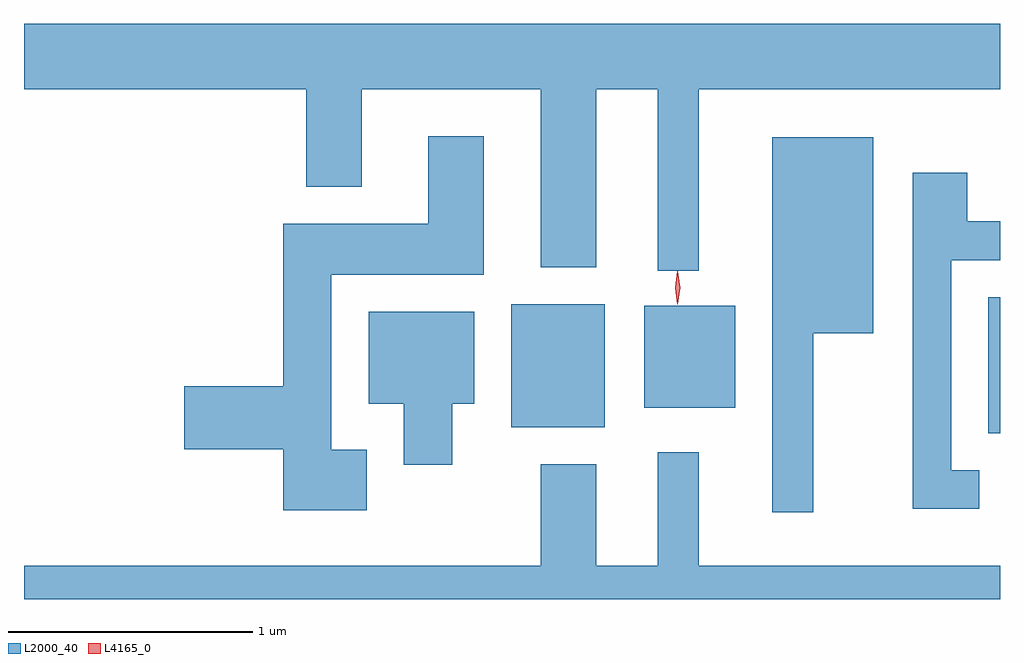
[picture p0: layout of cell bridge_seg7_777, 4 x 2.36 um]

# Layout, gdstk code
import gdstk
lib = gdstk.Library(unit=1e-6, precision=1e-09)
def R(c, l, rs):  # rectangles x0, y0, x1, y1
    for r in rs: c.add(gdstk.rectangle(r[:2], r[2:], *l))
def P(c, l, *ps):  # polygons
    for p in ps: c.add(gdstk.Polygon(p, *l))
L2000_40 = (2000, 40)
L4165_0 = (4165, 0)

bridge_seg7_777 = lib.new_cell('bridge_seg7_777')
R(bridge_seg7_777, L2000_40, [(385.056,1788.386,385.104,1788.944), (383.101,1788.411,383.484,1788.914), (383.646,1788.491,384.019,1788.909)])
P(bridge_seg7_777, L2000_40, [(383.869,1789.796),(385.104,1789.796),(385.104,1790.064),(381.104,1790.064),(381.104,1789.796),(382.261,1789.796),(382.261,1789.396),(382.489,1789.396),(382.489,1789.796),(383.221,1789.796),(383.221,1789.066),(383.449,1789.066),(383.449,1789.796),(383.701,1789.796),(383.701,1789.053),(383.869,1789.053)],
  [(382.509,1788.319),(382.364,1788.319),(382.364,1789.036),(382.989,1789.036),(382.989,1789.604),(382.761,1789.604),(382.761,1789.244),(382.166,1789.244),(382.166,1788.579),(381.761,1788.579),(381.761,1788.321),(382.166,1788.321),(382.166,1788.071),(382.509,1788.071)],
  [(384.339,1788.796),(384.584,1788.796),(384.584,1789.599),(384.171,1789.599),(384.171,1788.063),(384.339,1788.063)],
  [(385.018,1788.234),(384.904,1788.234),(384.904,1789.096),(385.104,1789.096),(385.104,1789.254),(384.969,1789.254),(384.969,1789.454),(384.746,1789.454),(384.746,1788.076),(385.018,1788.076)],
  [(382.859,1788.506),(382.949,1788.506),(382.949,1788.884),(382.516,1788.884),(382.516,1788.506),(382.661,1788.506),(382.661,1788.256),(382.859,1788.256)],
  [(385.104,1787.844),(383.869,1787.844),(383.869,1788.308),(383.701,1788.308),(383.701,1787.844),(383.449,1787.844),(383.449,1788.259),(383.221,1788.259),(383.221,1787.844),(381.104,1787.844),(381.104,1787.706),(385.104,1787.706)])
P(bridge_seg7_777, L4165_0, [(383.782,1788.914),(383.773,1788.982),(383.782,1789.05),(383.783,1789.05),(383.783,1789.05),(383.793,1788.982),(383.783,1788.914),(383.783,1788.914)],
  [(383.782,1788.918),(383.773,1788.982),(383.782,1789.046),(383.783,1789.047),(383.783,1789.046),(383.793,1788.982),(383.783,1788.918),(383.783,1788.918)])

lib.write_gds('bridge_seg7_777.gds')
